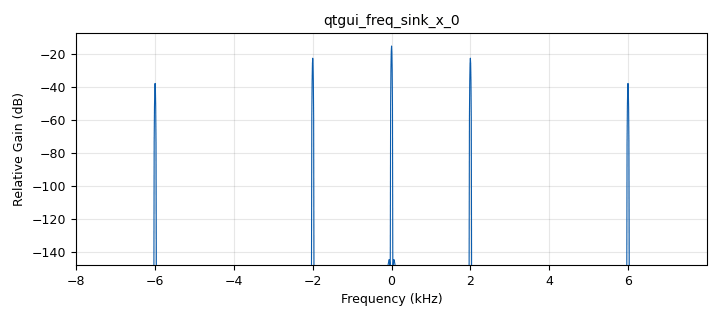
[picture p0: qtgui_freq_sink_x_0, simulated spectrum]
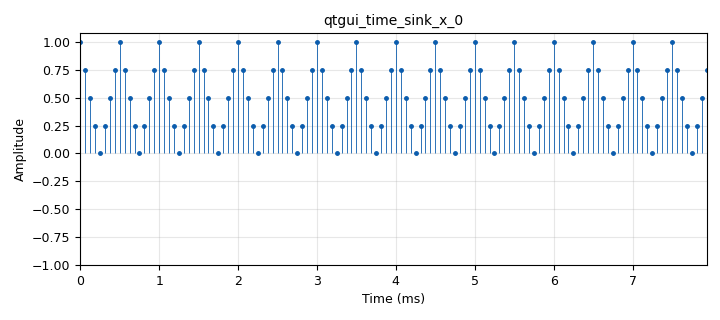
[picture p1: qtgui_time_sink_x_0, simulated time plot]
options:
  parameters:
    author: Ashley_Amaya_Otto_Andrade_J1C_G3
    generate_options: qt_gui
    id: Lab2_punto1
    output_language: python
    title: muestreo_interpolacion_etc
  states: {}

blocks:
- name: freq
  id: variable_qtgui_range
  parameters:
    label: frequency
    orient: Qt.Horizontal
    start: '1000'
    step: '1000'
    stop: '40000'
    value: '2000'
  states: {}
- name: samp_rate
  id: variable
  parameters:
    value: '16000'
  states: {}
- name: analog_sig_source_x_0
  id: analog_sig_source_x
  parameters:
    amp: '1'
    freq: freq
    offset: '0'
    phase: '0'
    samp_rate: samp_rate
    type: float
    waveform: analog.GR_TRI_WAVE
  states: {}
- name: blocks_throttle_0
  id: blocks_throttle
  parameters:
    samples_per_second: samp_rate
    type: float
  states: {}
- name: qtgui_freq_sink_x_0
  id: qtgui_freq_sink_x
  parameters:
    autoscale: 'True'
    bw: samp_rate
    fc: '0'
    fftsize: '2048'
    type: float
    wintype: firdes.WIN_BLACKMAN_hARRIS
  states: {}
- name: qtgui_time_sink_x_0
  id: qtgui_time_sink_x
  parameters:
    size: '128'
    srate: samp_rate
    stemplot: 'True'
    type: float
  states: {}

connections:
- [analog_sig_source_x_0, '0', blocks_throttle_0, '0']
- [blocks_throttle_0, '0', qtgui_freq_sink_x_0, '0']
- [blocks_throttle_0, '0', qtgui_time_sink_x_0, '0']

metadata:
  file_format: 1
